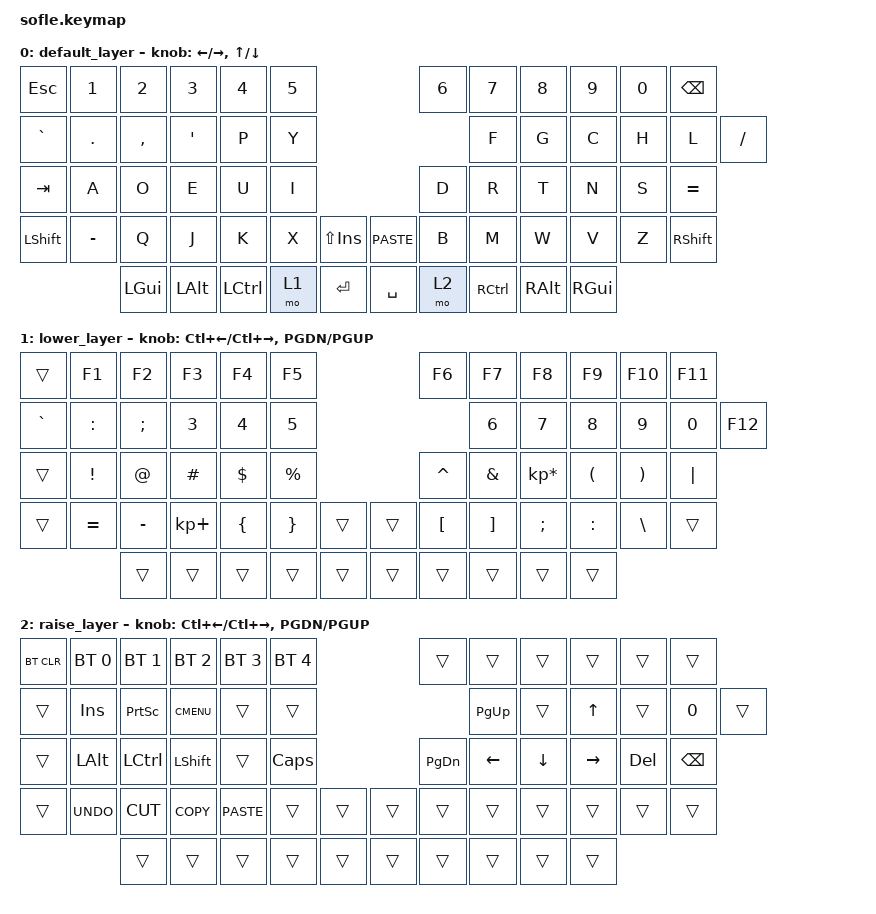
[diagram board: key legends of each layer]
/*
 * Copyright (c) 2020 The ZMK Contributors
 *
 * SPDX-License-Identifier: MIT
 */

#include <behaviors.dtsi>
#include <dt-bindings/zmk/keys.h>
#include <dt-bindings/zmk/bt.h>

&left_encoder { resolution = <1>;};
&right_encoder { resolution = <1>;};

/ {
    keymap {
        compatible = "zmk,keymap";

        default_layer {
// ------------------------------------------------------------------------------------------------------------
// |  ESC  |  1  |  2  |  3   |  4   |  5   |                   |  6   |  7    |  8    |  9   |   0   | BKSPC |
// |   `   |  .  |  ,  |  '   |  P   |  Y   |                   |  F   |  G    |  C    |  H   |   L   | /     |
// |  TAB  |  A  |  O  |  E   |  U   |  I   |                   |  D   |  R    |  T    |  N   |   S   |   =   |
// | SHIFT |  -  |  Q  |  J   |  K   |  X   |  PASTE |  | COPY |  B   |  M    |  W    |  V   |   Z   | SHIFT |
//               | GUI | ALT  | CTRL | LOWER|  ENTER |  | SPACE | RAISE| CTRL  | ALT   | GUI  |
            bindings = <
&kp ESC &kp N1 &kp N2   &kp N3   &kp N4    &kp N5                      &kp N6 &kp N7    &kp N8    &kp N9   &kp N0   &kp BACKSPACE
&kp GRAVE   &kp DOT  &kp COMMA    &kp SQT    &kp P     &kp Y                       &kp F  &kp G     &kp C     &kp H    &kp L    &kp SLASH
&kp TAB   &kp A  &kp O    &kp E    &kp U     &kp I                       &kp D  &kp R     &kp T     &kp N    &kp S &kp EQUAL
&kp LSHFT &kp MINUS  &kp Q    &kp J    &kp K     &kp X  &kp LS(INSERT) &kp K_PASTE   &kp B  &kp M     &kp W &kp V  &kp Z &kp RSHFT
                 &kp LGUI &kp LALT &kp LCTRL &mo 1  &kp RET    &kp SPACE &mo 2  &kp RCTRL &kp RALT  &kp RGUI
            >;

            sensor-bindings = <&inc_dec_kp LEFT_ARROW RIGHT_ARROW &inc_dec_kp UP_ARROW DOWN_ARROW>;
            //sensor-bindings = <&inc_dec_kp C_VOL_UP C_VOL_DN &inc_dec_kp PG_UP PG_DN>;
        };

        lower_layer {
// TODO: Some binds are waiting for shifted keycode support.
// ------------------------------------------------------------------------------------------------------------
// |       |  F1 |  F2 |  F3  |  F4  |  F5  |                   |  F6  |  F7   |  F8   |  F9  |  F10  |  F11  |
// | `     |   1 |   2 |   3  |   4  |   5  |                   |   6  |   7   |   8   |   9  |    0  |  F12  |
// |       |  !  |  @  |  #   |  $   |  %   |                   |  ^   |  &    |  *    |  (   |   )   |   |   |
// |       |  =  |  -  |  +   |  {   |  }   |        |  |       |  [   |  ]    |  ;    |  :   |   \   |       |
//               |     |      |      |      |        |  |       |      |       |       |      |
            bindings = <
&trans    &kp F1    &kp F2    &kp F3      &kp F4    &kp F5                    &kp F6    &kp F7   &kp F8          &kp F9    &kp F10   &kp F11
&kp GRAVE &kp COLON    &kp SEMI    &kp N3      &kp N4    &kp N5                    &kp N6    &kp N7   &kp N8          &kp N9    &kp N0    &kp F12
&trans    &kp EXCL  &kp AT    &kp HASH    &kp DLLR  &kp PRCNT                 &kp CARET &kp AMPS &kp KP_MULTIPLY &kp LPAR  &kp RPAR  &kp PIPE
&trans    &kp EQUAL &kp MINUS &kp KP_PLUS &kp LBRC  &kp RBRC  &trans   &trans &kp LBKT  &kp RBKT &kp SEMI        &kp COLON &kp BSLH  &trans
                    &trans    &trans      &trans    &trans    &trans   &trans &trans    &trans   &trans          &trans
            >;

            sensor-bindings = <&inc_dec_kp LC(LEFT_ARROW) LC(RIGHT_ARROW)  &inc_dec_kp PGDN PGUP>;
        };

        raise_layer {
// ------------------------------------------------------------------------------------------------------------
// |BTCLR| BT1  | BT2  |  BT3  |  BT4  |  BT5 |                |      |      |       |      |       |       |
// |     | INS  | PSCR | GUI   |       |      |                | PGUP |      |   ^   |      |       |       |
// |     | ALT  | CTRL | SHIFT |       | CAPS |                | PGDN |   <- |   v   |  ->  |  DEL  | BKSPC |
// |     | UNDO | CUT  | COPY  | PASTE |      |      |  |      |      |      |       |      |       |       |
//              |      |       |       |      |      |  |      |      |      |       |      |
            bindings = <
&bt BT_CLR &bt BT_SEL 0 &bt BT_SEL 1 &bt BT_SEL 2 &bt BT_SEL 3 &bt BT_SEL 4             &trans    &trans    &trans   &trans    &trans  &trans
&trans     &kp INS      &kp PSCRN    &kp K_CMENU  &trans       &trans                   &kp PG_UP &trans    &kp UP   &trans    &kp N0  &trans
&trans     &kp LALT     &kp LCTRL    &kp LSHFT    &trans       &kp CLCK                 &kp PG_DN &kp LEFT  &kp DOWN &kp RIGHT &kp DEL &kp BSPC
&trans     &kp K_UNDO   &kp K_CUT    &kp K_COPY   &kp K_PASTE  &trans  &trans   &trans  &trans    &trans    &trans   &trans    &trans  &trans
                        &trans       &trans       &trans       &trans  &trans   &trans  &trans    &trans    &trans   &trans
            >;

            //sensor-bindings = <&inc_dec_kp C_VOL_UP C_VOL_DN &inc_dec_kp PG_UP PG_DN>;
            //sensor-bindings = <&inc_dec_kp LEFT_ARROW RIGHT_ARROW &inc_dec_kp UP_ARROW DOWN_ARROW>;
            sensor-bindings = <&inc_dec_kp LC(LEFT_ARROW) LC(RIGHT_ARROW)  &inc_dec_kp PGDN PGUP>;
        };
    };
};

